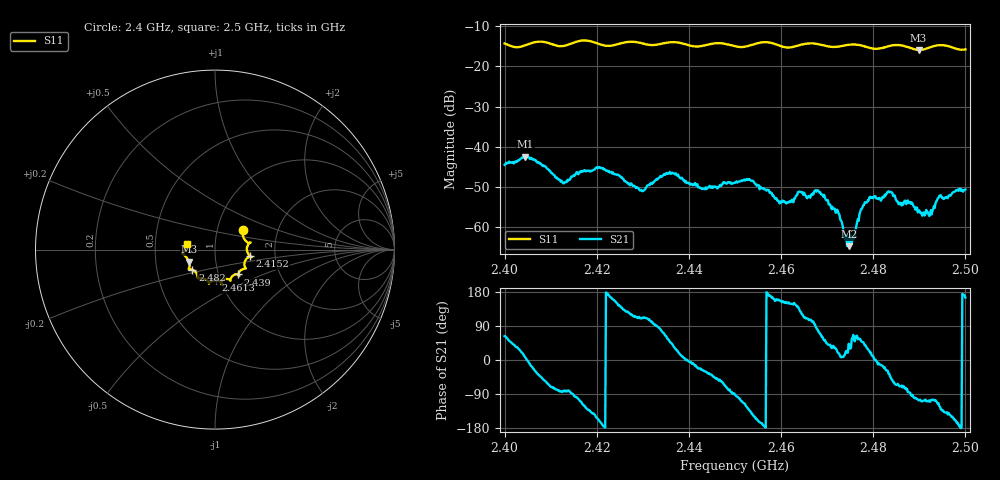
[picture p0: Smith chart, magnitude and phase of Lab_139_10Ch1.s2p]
# Hz S RI R 50
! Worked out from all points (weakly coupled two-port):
!   601 points, 2.4 GHz to 2.5 GHz, reference 50 ohm
!   highest |S21| = -42.39 dB at 2.4045 GHz (marker M1); lowest = -64.6 dB at 2.4747 GHz (marker M2)
!   lowest |S11| = -15.9 dB at 2.4898 GHz (marker M3), VSWR 1.38, Z = 37 - j5.04 ohm
!   |S11| at or under -10 dB: start of sweep to end of sweep
!   S12 and S22 are empty: the file has one direction only
!   S11 on the Smith chart (normalised r, x): 2.4 GHz: 1.33, +0.31; 2.4152 GHz: 1.48, -0.11; 2.439 GHz: 1.24, -0.36; 2.4613 GHz: 0.96, -0.34; 2.482 GHz: 0.76, -0.18; 2.5 GHz: 0.72, +0.05
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2.4e9  0.1565 0.1111  0.00271 0.00533  0 0  0 0
2.4045e9  0.1771 0.043  0.00754 0.000919  0 0  0 0
2.4125e9  0.1778 -0.00216  0.000348 -0.00369  0 0  0 0
2.415167e9  0.1945 -0.0366  -0.000488 -0.00436  0 0  0 0
2.416667e9  0.204 -0.0423  -0.0018 -0.00468  0 0  0 0
2.420833e9  0.1803 -0.0466  -0.00523 -0.00147  0 0  0 0
2.429833e9  0.1602 -0.1077  -0.000989 0.00265  0 0  0 0
2.433333e9  0.1323 -0.132  0.000214 0.00407  0 0  0 0
2.439e9  0.1287 -0.1386  0.00383 0.00033  0 0  0 0
2.45e9  0.0689 -0.1637  -8.53e-05 -0.00357  0 0  0 0
2.453333e9  0.0372 -0.178  -0.00275 -0.00268  0 0  0 0
2.461333e9  0.00706 -0.171  -0.00177 0.00104  0 0  0 0
2.466667e9  -0.0335 -0.1898  -0.00049 0.00247  0 0  0 0
2.468333e9  -0.0338 -0.1837  0.00085 0.00258  0 0  0 0
2.472167e9  -0.0677 -0.1611  0.00153 0.000652  0 0  0 0
2.474667e9  -0.0904 -0.1612  0.00043 0.000398  0 0  0 0
2.478333e9  -0.098 -0.1453  0.00158 0.00126  0 0  0 0
2.482e9  -0.1262 -0.1123  0.00231 -0.000628  0 0  0 0
2.483333e9  -0.1393 -0.1102  0.00225 -0.00168  0 0  0 0
2.489833e9  -0.1453 -0.0663  -0.000451 -0.00154  0 0  0 0
2.492333e9  -0.1685 -0.0333  -0.000501 -0.00137  0 0  0 0
2.5e9  -0.1586 0.0329  -0.00286 0.000773  0 0  0 0
